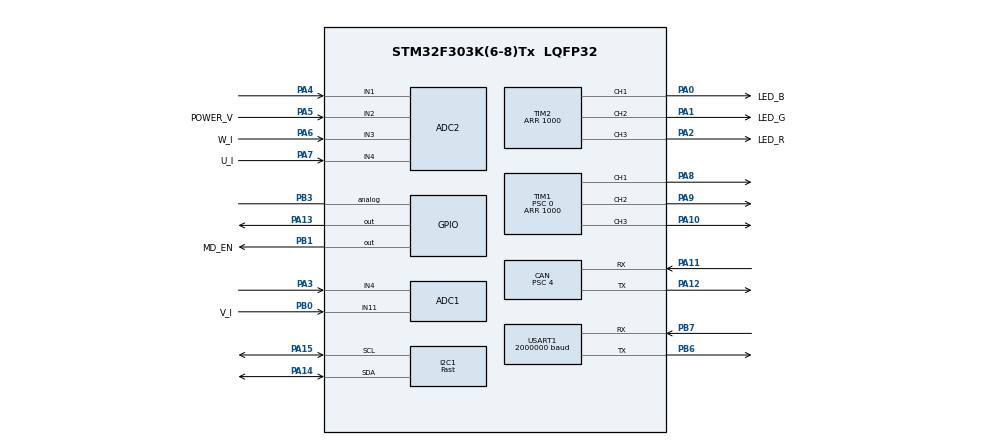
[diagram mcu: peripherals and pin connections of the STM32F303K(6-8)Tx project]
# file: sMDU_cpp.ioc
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Mcu.Family=STM32F3
ADC2.ExternalTrigConv=ADC_EXTERNALTRIGCONV_T1_TRGO
PA6.Mode=IN3-Single-Ended
ADC2.OffsetNumber-2\#ChannelRegularConversion=ADC_OFFSET_NONE
TIM17.Prescaler=72-1
RCC.CortexFreq_Value=72000000
VP_TIM17_VS_ClockSourceINT.Mode=Enable_Timer
NVIC.DMA1_Channel5_IRQn=true\:0\:0\:false\:false\:true\:false\:true
NVIC.I2C1_EV_IRQn=true\:0\:0\:true\:false\:true\:true\:true
I2C1.I2C_Speed_Mode=I2C_Fast
PF0\ /\ OSC_IN.Mode=HSE-External-Oscillator
ADC2.SamplingTime-1\#ChannelRegularConversion=ADC_SAMPLETIME_4CYCLES_5
ADC2.Channel-0\#ChannelRegularConversion=ADC_CHANNEL_3
TIM1.RepetitionCounter=1
NVIC.CAN_RX0_IRQn=true\:0\:0\:false\:false\:true\:true\:true
USART1.BaudRate=2000000
Dma.USART1_RX.2.Instance=DMA1_Channel5
RCC.SYSCLKSourceVirtual=RCC_SYSCLKSOURCE_PLLCLK
PA0.GPIO_Label=LED_B
PA11.Mode=CAN_Activate
PA6.GPIO_Label=W_I
PB0.GPIO_Label=V_I
TIM2.Channel-PWM\ Generation2\ CH2=TIM_CHANNEL_2
NVIC.TIM6_DAC1_IRQn=true\:1\:0\:true\:false\:true\:true\:true
ProjectManager.StackSize=0x400
VP_TIM7_VS_ClockSourceINT.Mode=Enable_Timer
PA12.Signal=CAN_TX
CAN.Prescaler=4
TIM1.OCMode_PWM-PWM\ Generation3\ CH3=TIM_OCMODE_PWM2
TIM1.Prescaler=0
PA4.Mode=IN1-Single-Ended
ADC2.DMAContinuousRequests=ENABLE
ADC1.Channel-3\#ChannelRegularConversion=ADC_CHANNEL_4
RCC.HCLKFreq_Value=72000000
RCC.APB2TimFreq_Value=72000000
PB6.Signal=USART1_TX
Dma.ADC1.0.Direction=DMA_PERIPH_TO_MEMORY
ADC1.Channel-2\#ChannelRegularConversion=ADC_CHANNEL_11
PB6.Mode=Asynchronous
TIM7.Period=7200-1
ADC1.SubFamily=STM32F303x8
ADC1.Offset-3\#ChannelRegularConversion=0
ADC2.EOCSelection=ADC_EOC_SEQ_CONV
Dma.ADC1.0.MemDataAlignment=DMA_MDATAALIGN_HALFWORD
RCC.AHBFreq_Value=72000000
RCC.HSE_VALUE=16000000
PA15.Mode=I2C
RCC.RCC_PLLsource_Clock_Source_FROM_HSE=RCC_HSE_PREDIV_DIV2
RCC.PLLMUL=RCC_PLL_MUL9
Dma.ADC2.1.Instance=DMA1_Channel2
ADC1.Rank-2\#ChannelRegularConversion=1
TIM1.Channel-PWM\ Generation1\ CH1=TIM_CHANNEL_1
PA14.Mode=I2C
PB1.GPIO_Label=MD_EN
Dma.ADC1.0.PeriphInc=DMA_PINC_DISABLE
PB7.Signal=USART1_RX
PA8.Signal=S_TIM1_CH1
Dma.ADC2.1.PeriphInc=DMA_PINC_DISABLE
TIM2.Channel-PWM\ Generation1\ CH1=TIM_CHANNEL_1
SH.S_TIM3_CH1.0=TIM3_CH1
TIM6.Period=18000-1
ADC1.SamplingTimeOPAMP-3\#ChannelRegularConversion=ADC_SAMPLETIME_61CYCLES_5
CAN.CalculateTimeQuantum=111.11111111111111
VP_TIM1_VS_ClockSourceINT.Mode=Internal
PA0.Signal=S_TIM2_CH1_ETR
Mcu.Package=LQFP32
PB1.Signal=GPIO_Output
PA6.Signal=ADC2_IN3
ADC2.Offset-0\#ChannelRegularConversion=0
ADC1.EnableInjectedConversion=DISABLE
ADC2.Overrun=ADC_OVR_DATA_OVERWRITTEN
PA2.GPIO_Label=LED_R
ADC2.Channel-1\#ChannelRegularConversion=ADC_CHANNEL_4
PA10.Signal=S_TIM1_CH3
ADC2.Offset-2\#ChannelRegularConversion=0
PA15.Signal=I2C1_SCL
ADC2.SamplingTime-0\#ChannelRegularConversion=ADC_SAMPLETIME_4CYCLES_5
TIM7.AutoReloadPreload=TIM_AUTORELOAD_PRELOAD_DISABLE
PA14.GPIO_PuPdOD=GPIO_NOPULL
ADC2.SubFamily=STM32F303x8
ADC2.SamplingTime-2\#ChannelRegularConversion=ADC_SAMPLETIME_19CYCLES_5
ADC2.NbrOfConversion=4
Dma.Request2=USART1_RX
Dma.Request1=ADC2
RCC.APB1TimFreq_Value=72000000
ADC2.Rank-2\#ChannelRegularConversion=3
TIM1.Period=1000
ADC2.Rank-0\#ChannelRegularConversion=1
NVIC.USART1_IRQn=true\:0\:0\:false\:false\:true\:true\:true
Dma.Request0=ADC1
ADC1.EOCSelection=ADC_EOC_SEQ_CONV
Dma.ADC2.1.PeriphDataAlignment=DMA_PDATAALIGN_HALFWORD
Dma.USART1_RX.2.MemDataAlignment=DMA_MDATAALIGN_BYTE
ADC2.Channel-3\#ChannelRegularConversion=ADC_CHANNEL_1
PB4.Signal=S_TIM3_CH1
PA3.Signal=ADC1_IN4
PA5.Mode=IN2-Single-Ended
RCC.PLLSourceVirtual=RCC_PLLSOURCE_HSE
TIM1.OCPolarity_1=TIM_OCPOLARITY_HIGH
TIM1.OCPolarity_3=TIM_OCPOLARITY_HIGH
Dma.ADC1.0.Instance=DMA1_Channel1
TIM1.OCPolarity_2=TIM_OCPOLARITY_HIGH
PA7.Mode=IN4-Single-Ended
TIM2.CounterMode=TIM_COUNTERMODE_CENTERALIGNED1
ADC2.Offset-3\#ChannelRegularConversion=0
TIM1.CounterMode=TIM_COUNTERMODE_CENTERALIGNED1
ADC2.Rank-3\#ChannelRegularConversion=4
CAN.CalculateBaudRate=1000000
ADC1.OffsetNumber-3\#ChannelRegularConversion=ADC_OFFSET_NONE
VP_TIM6_VS_ClockSourceINT.Mode=Enable_Timer
TIM2.OCPolarity_3=TIM_OCPOLARITY_LOW
NVIC.TIM7_DAC2_IRQn=true\:2\:0\:true\:false\:true\:true\:true
RCC.APB1CLKDivider=RCC_HCLK_DIV2
TIM2.OCPolarity_1=TIM_OCPOLARITY_LOW
TIM2.OCPolarity_2=TIM_OCPOLARITY_LOW
Dma.USART1_RX.2.PeriphInc=DMA_PINC_DISABLE
CAN.CalculateTimeBit=999.99
ADC1.SamplingTime-2\#ChannelRegularConversion=ADC_SAMPLETIME_7CYCLES_5
USART1.VirtualMode-Asynchronous=VM_ASYNC
PA3.Mode=IN4-Single-Ended
PA13.Signal=GPIO_Output
SH.S_TIM2_CH2.0=TIM2_CH2,PWM Generation2 CH2
ADC2.OffsetNumber-3\#ChannelRegularConversion=ADC_OFFSET_NONE
Dma.ADC1.0.PeriphDataAlignment=DMA_PDATAALIGN_HALFWORD
CAN.BS1=CAN_BS1_7TQ
SH.S_TIM1_CH1.0=TIM1_CH1,PWM Generation1 CH1
NVIC.DMA1_Channel2_IRQn=true\:0\:0\:false\:false\:true\:false\:true
ProjectManager.TargetToolchain=STM32CubeIDE
Dma.ADC1.0.Mode=DMA_CIRCULAR
Dma.USART1_RX.2.Mode=DMA_NORMAL
Dma.USART1_RX.2.PeriphDataAlignment=DMA_PDATAALIGN_BYTE
Dma.ADC1.0.Priority=DMA_PRIORITY_LOW
PA9.Signal=S_TIM1_CH2
TIM1.Channel-PWM\ Generation2\ CH2=TIM_CHANNEL_2
I2C1.Timing=0x0000020B
ADC1.Offset-2\#ChannelRegularConversion=0
Dma.ADC2.1.Mode=DMA_CIRCULAR
PF1\ /\ OSC_OUT.Signal=RCC_OSC_OUT
PA1.Signal=S_TIM2_CH2
ADC2.OffsetNumber-1\#ChannelRegularConversion=ADC_OFFSET_NONE
PA5.Signal=ADC2_IN2
SH.S_TIM3_CH2.0=TIM3_CH2
ADC2.OffsetNumber-0\#ChannelRegularConversion=ADC_OFFSET_NONE
PB0.Mode=IN11-Single-Ended
board=custom
Dma.USART1_RX.2.Priority=DMA_PRIORITY_LOW
ADC2.Channel-2\#ChannelRegularConversion=ADC_CHANNEL_2
ADC2.Offset-1\#ChannelRegularConversion=0
TIM1.TIM_MasterOutputTrigger=TIM_TRGO_UPDATE
RCC.APB2Freq_Value=72000000
Dma.USART1_RX.2.Direction=DMA_PERIPH_TO_MEMORY
PF0\ /\ OSC_IN.Signal=RCC_OSC_IN
SH.S_TIM1_CH2.0=TIM1_CH2,PWM Generation2 CH2
VP_TIM2_VS_ClockSourceINT.Mode=Internal
SH.S_TIM2_CH3.0=TIM2_CH3,PWM Generation3 CH3
PA1.GPIO_Label=LED_G
TIM2.Channel-PWM\ Generation3\ CH3=TIM_CHANNEL_3
TIM6.TIM_MasterOutputTrigger=TIM_TRGO_RESET
ADC1.DMAContinuousRequests=ENABLE
ADC2.SamplingTime-3\#ChannelRegularConversion=ADC_SAMPLETIME_19CYCLES_5
Dma.ADC2.1.MemInc=DMA_MINC_ENABLE
TIM2.Period=1000
ADC1.NbrOfConversion=2
ADC1.OffsetNumber-2\#ChannelRegularConversion=ADC_OFFSET_NONE
Mcu.Name=STM32F303K(6-8)Tx
Dma.USART1_RX.2.MemInc=DMA_MINC_ENABLE
TIM1.OCMode_PWM-PWM\ Generation1\ CH1=TIM_OCMODE_PWM2
PA2.Signal=S_TIM2_CH3
ADC1.ExternalTrigConv=ADC_EXTERNALTRIGCONV_T1_TRGO
ADC2.EnableInjectedConversion=DISABLE
PB3.Signal=GPIO_Analog
PA4.Signal=ADC2_IN1
RCC.SYSCLKFreq_VALUE=72000000
TIM1.TIM_MasterOutputTrigger2=TIM_TRGO2_UPDATE
PB5.Signal=S_TIM3_CH2
Dma.ADC2.1.Direction=DMA_PERIPH_TO_MEMORY
PA7.GPIO_Label=U_I
ADC1.master=1
PA12.Mode=CAN_Activate
PA5.GPIO_Label=POWER_V
ADC1.Rank-3\#ChannelRegularConversion=2
ADC1.SamplingTime-3\#ChannelRegularConversion=ADC_SAMPLETIME_19CYCLES_5
ADC2.NbrOfConversionFlag=1
PB7.Mode=Asynchronous
PA11.Signal=CAN_RX
SH.S_TIM2_CH1_ETR.0=TIM2_CH1,PWM Generation1 CH1
PA14.Signal=I2C1_SDA
Dma.ADC1.0.MemInc=DMA_MINC_ENABLE
ProjectManager.HeapSize=0x200
SH.S_TIM1_CH3.0=TIM1_CH3,PWM Generation3 CH3
PA15.GPIO_PuPdOD=GPIO_NOPULL
RCC.HSI_VALUE=8000000
NVIC.PriorityGroup=NVIC_PRIORITYGROUP_4
ADC1.NbrOfConversionFlag=1
Dma.ADC2.1.MemDataAlignment=DMA_MDATAALIGN_HALFWORD
TIM1.OCMode_PWM-PWM\ Generation2\ CH2=TIM_OCMODE_PWM2
ADC1.EnableRegularConversion=ENABLE
ADC2.Rank-1\#ChannelRegularConversion=2
Dma.ADC2.1.Priority=DMA_PRIORITY_LOW
NVIC.DMA1_Channel1_IRQn=true\:0\:0\:false\:false\:true\:false\:true
TIM1.Channel-PWM\ Generation3\ CH3=TIM_CHANNEL_3
RCC.APB1Freq_Value=36000000
PB0.Signal=ADC1_IN11
TIM1.TIM_MasterSlaveMode=TIM_MASTERSLAVEMODE_ENABLE
PF1\ /\ OSC_OUT.Mode=HSE-External-Oscillator
PA7.Signal=ADC2_IN4

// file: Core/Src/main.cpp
/* USER CODE BEGIN Header */
/**
  ******************************************************************************
  * @file           : main.c
  * @brief          : Main program body
  ******************************************************************************
  * @attention
  *
  * <h2><center>&copy; Copyright (c) 2023 STMicroelectronics.
  * All rights reserved.</center></h2>
  *
  * This software component is licensed by ST under BSD 3-Clause license,
  * the "License"; You may not use this file except in compliance with the
  * License. You may obtain a copy of the License at:
  *                        opensource.org/licenses/BSD-3-Clause
  *
  ******************************************************************************
  */
/* USER CODE END Header */
#include "main.h"
#include "adc.h"
#include "can.h"
#include "dma.h"
#include "i2c.h"
#include "tim.h"
#include "usart.h"
#include "gpio.h"

/* USER CODE BEGIN Includes */
#include ../user_lib/board_task.hpp
/* USER CODE END Includes */

void SystemClock_Config(void);

/* USER CODE BEGIN 0 */
extern "C" {
	int _write(int file, char *ptr, int len) {
		HAL_UART_Transmit(&huart1, (uint8_t*) ptr, len,100);
		return len;
	}
}

void HAL_TIM_PeriodElapsedCallback(TIM_HandleTypeDef *htim){
	if(htim == &htim7){
		R.out(0.5);
		motor.control();
	}else if(htim == &htim6){

		enc_array[(int)ENC_type::AB_LINER]->read_start();
	}
}

void HAL_I2C_MasterRxCpltCallback(I2C_HandleTypeDef *hi2c){
	enc_array[(int)motor.get_enc_type()]->read_completion_task();
}

void HAL_CAN_RxFifo0MsgPendingCallback(CAN_HandleTypeDef *hcan){
    can.rx_interrupt_task();
}

///////////////////////////////////////////////////////////////////////////////////////////////////
uint8_t uart_rx_buff[16] = {0};
int rx_ID = 0;
int rx_reg = 0;
float rx_val = 0;
bool uart_rx_flag = false;

float byte_to_float(uint8_t *buff){
	return *(float*)(void*)buff;
}
void HAL_UART_RxCpltCallback(UART_HandleTypeDef *huart)
{
	B.out(0.5);
	rx_ID = uart_rx_buff[0];
	rx_reg = uart_rx_buff[1];
	rx_val = byte_to_float(&uart_rx_buff[2]);
	uart_rx_flag = true;

    HAL_UART_Receive_DMA(&huart1, uart_rx_buff, 7);
}

///////////////////////////////////////////////////////////////////////////////////////////////////

/* USER CODE END 0 */

int main(void)
{

  /* MCU Configuration--------------------------------------------------------*/

  /* Reset of all peripherals, Initializes the Flash interface and the Systick. */
  HAL_Init();

  /* Configure the system clock */
  SystemClock_Config();

  /* Initialize all configured peripherals */
  MX_GPIO_Init();
  MX_DMA_Init();
  MX_ADC1_Init();
  MX_ADC2_Init();
  MX_CAN_Init();
  MX_TIM1_Init();
  MX_TIM2_Init();
  MX_USART1_UART_Init();
  MX_I2C1_Init();
  MX_TIM6_Init();
  MX_TIM7_Init();
  MX_TIM17_Init();
  /* USER CODE BEGIN 2 */
  R.start();
  G.start();
  B.start();
  G.out(0.5);
  printf("LED OK\r\n");

  //motor peripherals start
  driver.pwms_start();
  analog.init();
  analog.dma_start();

  while(analog.get_power_v() < 12.0){
	  G.out(0);
	  R.out(0.5);
	  HAL_Delay(250);
	  G.out(0.5);
	  R.out(0);
	  HAL_Delay(250);
  }
  G.out(0.5);

  motor.set_enc_type(ENC_type::AB_LINER);

  printf("R:%f,L:%f\r\n",motor_R,motor_L);
  motor.init(7,motor_R,motor_L,1000);
  printf("motor init\r\n");

  //enc timer
   if(HAL_TIM_Base_Start_IT(&htim6) == HAL_OK) printf("enc timer start\r\n");
   else printf("enc timer error\r\n");

   //motor timer
   if(HAL_TIM_Base_Start_IT(&htim7) == HAL_OK) printf("motor timer start\r\n");
   else printf("motor timer error\r\n");

  HAL_CAN_Start(&hcan);
  HAL_CAN_ActivateNotification(&hcan, CAN_IT_RX_FIFO0_MSG_PENDING);
  can.set_filter_free();
  can_frame_t data;
  dq_t dq_target = {0,0};

  HAL_UART_Receive_DMA(&huart1, uart_rx_buff, 7);
  printf("start\r\n");

  /* USER CODE END 2 */

  /* Infinite loop */
  while (1)
  {

    /* USER CODE BEGIN 3 */

	  if(can.rx_available()){
		  can.rx(data);
		  if(data.id == 0b1){
			  dq_target.q = *reinterpret_cast<float*>(data.data);
		  }
	  }
	  motor.set_dq_current(dq_target);
	  if(uart_rx_flag){
		  printf("ID:%d,reg:%d,get:%4.3f\r\n",rx_ID,rx_reg,rx_val);
		  dq_target.q = rx_val;
		  uart_rx_flag = false;
	  }

	  //motor.print_debug();

	  HAL_Delay(1);
  }
  /* USER CODE END 3 */
}

void SystemClock_Config(void)
{
  LL_FLASH_SetLatency(LL_FLASH_LATENCY_2);
  while(LL_FLASH_GetLatency()!= LL_FLASH_LATENCY_2)
  {
  }
  LL_RCC_HSE_Enable();

   /* Wait till HSE is ready */
  while(LL_RCC_HSE_IsReady() != 1)
  {

  }
  LL_RCC_HSI_Enable();

   /* Wait till HSI is ready */
  while(LL_RCC_HSI_IsReady() != 1)
  {

  }
  LL_RCC_HSI_SetCalibTrimming(16);
  LL_RCC_PLL_ConfigDomain_SYS(LL_RCC_PLLSOURCE_HSE_DIV_2, LL_RCC_PLL_MUL_9);
  LL_RCC_PLL_Enable();

   /* Wait till PLL is ready */
  while(LL_RCC_PLL_IsReady() != 1)
  {

  }
  LL_RCC_SetAHBPrescaler(LL_RCC_SYSCLK_DIV_1);
  LL_RCC_SetAPB1Prescaler(LL_RCC_APB1_DIV_2);
  LL_RCC_SetAPB2Prescaler(LL_RCC_APB1_DIV_1);
  LL_RCC_SetSysClkSource(LL_RCC_SYS_CLKSOURCE_PLL);

   /* Wait till System clock is ready */
  while(LL_RCC_GetSysClkSource() != LL_RCC_SYS_CLKSOURCE_STATUS_PLL)
  {

  }
  LL_SetSystemCoreClock(72000000);

   /* Update the time base */
  if (HAL_InitTick (TICK_INT_PRIORITY) != HAL_OK)
  {
    Error_Handler();
  }
  LL_RCC_SetUSARTClockSource(LL_RCC_USART1_CLKSOURCE_PCLK1);
  LL_RCC_SetI2CClockSource(LL_RCC_I2C1_CLKSOURCE_HSI);
  LL_RCC_SetTIMClockSource(LL_RCC_TIM1_CLKSOURCE_PCLK2);
  LL_RCC_SetADCClockSource(LL_RCC_ADC12_CLKSRC_PLL_DIV_1);
}

void Error_Handler(void)
{
  __disable_irq();
  while (1)
  {
  }
}

/************************ (C) COPYRIGHT STMicroelectronics *****END OF FILE****/
